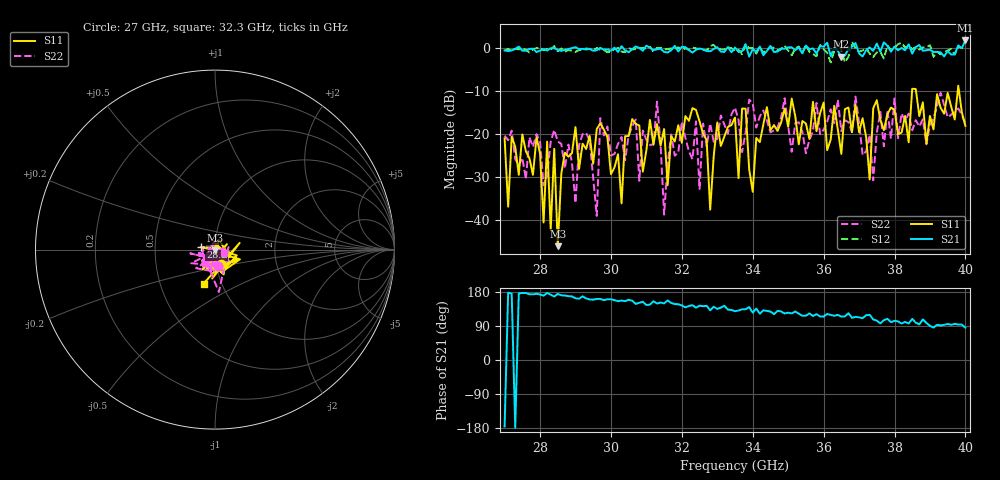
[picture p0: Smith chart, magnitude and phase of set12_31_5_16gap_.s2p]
! Quiescent point : V1=-1.64089E-02 I1=+1.25499E-03 V2=-2.27801E-02 I2=-1.27605E-03
! Pulsed point : V1=-1.57122E-02 I1=+1.25926E-03 V2=-2.21014E-02 I2=-1.26202E-03
! Period : +2.00000E-04
! Input Supply timing : delay=+1.60000E-06 width=+2.20000E-06
! Output Supply timing : delay=+1.70000E-06 width=+2.00000E-06
! VNA timing : delay=+2.40000E-06 width=+1.10000E-06
# Hz S RI R 50
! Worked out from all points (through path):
!   131 points, 27 GHz to 40 GHz, reference 50 ohm
!   highest |S21| = 1.72 dB at 40 GHz (marker M1); lowest = -2.1 dB at 36.5 GHz (marker M2)
!   group delay of S21, straight-line fit = 19.3 ps
!   lowest |S11| = -46.0 dB at 28.5 GHz (marker M3), VSWR 1.01, Z = 49.8 - j0.46 ohm
!   |S11| at or under -10 dB: start of sweep to 38.5 GHz; 38.61 GHz to 39.78 GHz (1.177 GHz wide, 3 % of centre); 39.81978 GHz to end of sweep
!   |S22| runs from -39.0 to -10.4 dB; largest |S21 - S12| = 0.43
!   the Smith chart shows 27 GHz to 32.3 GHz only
!   S11 on the Smith chart (normalised r, x): 27 GHz: 1.06, -0.18; 28.2 GHz: 0.85, +0.03; 32.3 GHz: 0.82, -0.32
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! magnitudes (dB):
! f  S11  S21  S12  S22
! 27 GHz  -21.0  -0.6  -0.7  -20.4
! 27.1 GHz  -36.8  -0.8  -0.2  -21.4
! 27.9 GHz  -20.7  -1.0  -0.1  -20.0
! 28.1 GHz  -40.5  -0.3  -0.6  -31.9
! 28.2 GHz  -21.7  -0.6  -0.3  -29.5
! 28.5 GHz  -46.0  -0.5  -0.8  -21.7
! 29 GHz  -18.4  0.2  -0.9  -36.0
! 29.2 GHz  -22.2  -0.2  -0.4  -20.0
! 29.6 GHz  -18.8  -0.5  0.0  -39.0
! 29.7 GHz  -17.5  0.0  -0.5  -16.3
! 30.3 GHz  -36.1  0.4  -0.9  -20.7
! 30.6 GHz  -16.5  -0.3  -0.4  -18.2
! 31.4 GHz  -22.7  -0.2  0.0  -22.3
! 31.5 GHz  -18.8  -0.9  -0.4  -38.7
! 32.3 GHz  -14.0  -1.1  0.1  -25.8
! 32.8 GHz  -37.5  -0.8  0.4  -17.6
! 33.5 GHz  -16.2  0.1  -0.8  -13.9
! 34 GHz  -33.4  -0.3  -0.1  -12.9
! 35.7 GHz  -12.5  -0.1  -1.4  -19.3
! 36.5 GHz  -24.6  -2.1  -0.5  -19.3
! 37.9 GHz  -13.9  -0.9  -0.5  -21.1
! 40 GHz  -18.1  1.7  0.0  -17.7
